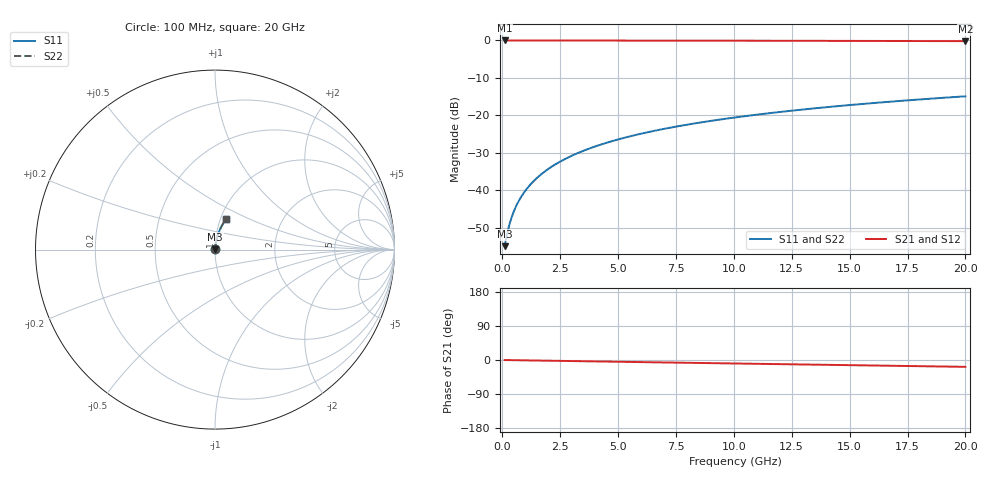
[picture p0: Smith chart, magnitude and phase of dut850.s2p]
! Touchstone file exported from HFSS 2026.1.0
!  File:  C:/ffzhzh/LocalFiles/Ansys_Project_Files/temp_train_TMRDL_850_1783156967_55132.aedt
!  Generated:  05:24:04 PM Jul  4, 2026
!  Design:  TMRDL
!  Project:  temp_train_TMRDL_850_1783156967_55132
! Variables:
!  h_bsmrdl = 2um
!  h_ox = 20um
!  h_rdl = 5um
!  h_sub = 80um
!  h_tmrdl = 3.81um
!  h_tsv = 80um
!  h_via = 3um
!  l_bsmrdl = 300um
!  l_sub = 637.65um
!  l_tmrdl = 237.65um
!  m_sub = 200um
!  pitch = 38.71um
!  r_tsv = 6um
!  s_tmrdl = 10um
!  w_bsmrdl = 18um
!  w_sub = 500um
!  w_tmrdl = 17.13um
!  x_tsv_center1 = 246.215um
!  x_tsv_center2 = 564.215um
!  x_tsv_center3 = 818.995um
!  x_tsv_center4 = 1136.995um
!  x_tsv_center5 = 1391.775um
!  x_tsv_center6 = 1709.775um
# GHz S MA R 50.000000
! Terminal data exported
! Port[1] = TM_RDL1_1_T1
! Port[2] = TM_RDL1_1_T2
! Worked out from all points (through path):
!   200 points, 100 MHz to 20 GHz, reference 50 ohm
!   highest |S21| = -0.01 dB at 100 MHz (marker M1); lowest = -0.2 dB at 20 GHz (marker M2)
!   group delay of S21, straight-line fit = 2.51 ps
!   lowest |S11| = -54.9 dB at 100 MHz (marker M3), VSWR 1.00, Z = 50.1 + j0.105 ohm
!   |S11| at or under -10 dB: start of sweep to end of sweep
!   |S22| runs from -54.9 to -14.9 dB; largest |S21 - S12| = 3.1e-15
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0.1  0.001799 35.5  0.9985 -0.1  0.9985 -0.1  0.001799 35.5
! Gamma 0 0 0 0
! Port Impedance 50 0 50 0
0.2  0.002563 53.6  0.9985 -0.2  0.9985 -0.2  0.002563 53.6
0.3  0.003436 62.5  0.9984 -0.3  0.9984 -0.3  0.003437 62.5
0.4  0.004339 67.7  0.9984 -0.4  0.9984 -0.4  0.004339 67.7
0.5  0.005253 71.1  0.9983 -0.5  0.9983 -0.5  0.005253 71.1
0.6  0.006175 73.5  0.9983 -0.6  0.9983 -0.6  0.006175 73.5
0.8  0.008038 76.8  0.9982 -0.8  0.9982 -0.8  0.008038 76.8
1.1  0.01086 79.5  0.9981 -1.0  0.9981 -1.0  0.01086 79.5
1.3  0.01276 80.6  0.9981 -1.2  0.9981 -1.2  0.01276 80.6
1.6  0.01561 81.6  0.998 -1.5  0.998 -1.5  0.01561 81.6
2.1  0.02037 82.5  0.9978 -2.0  0.9978 -2.0  0.02037 82.5
2.7  0.02608 82.8  0.9976 -2.5  0.9976 -2.5  0.02608 82.8
3.5  0.03366 82.8  0.9971 -3.3  0.9971 -3.3  0.03366 82.8
4.2  0.04025 82.5  0.9967 -3.9  0.9967 -3.9  0.04025 82.5
5  0.04773 82.0  0.9961 -4.7  0.9961 -4.7  0.04773 82.0
5.9  0.05609 81.4  0.9954 -5.5  0.9954 -5.5  0.05609 81.4
6.8  0.06437 80.8  0.9946 -6.3  0.9946 -6.3  0.06437 80.8
8.3  0.07804 79.6  0.9932 -7.7  0.9932 -7.7  0.07804 79.6
10.1  0.09424 78.1  0.9913 -9.3  0.9913 -9.3  0.09424 78.1
13.4  0.1234 75.5  0.9874 -12.2  0.9874 -12.2  0.1234 75.4
16.7  0.1518 72.7  0.9828 -15.2  0.9828 -15.2  0.1518 72.7
20  0.1796 70.0  0.9777 -18.1  0.9777 -18.1  0.1796 70.0
